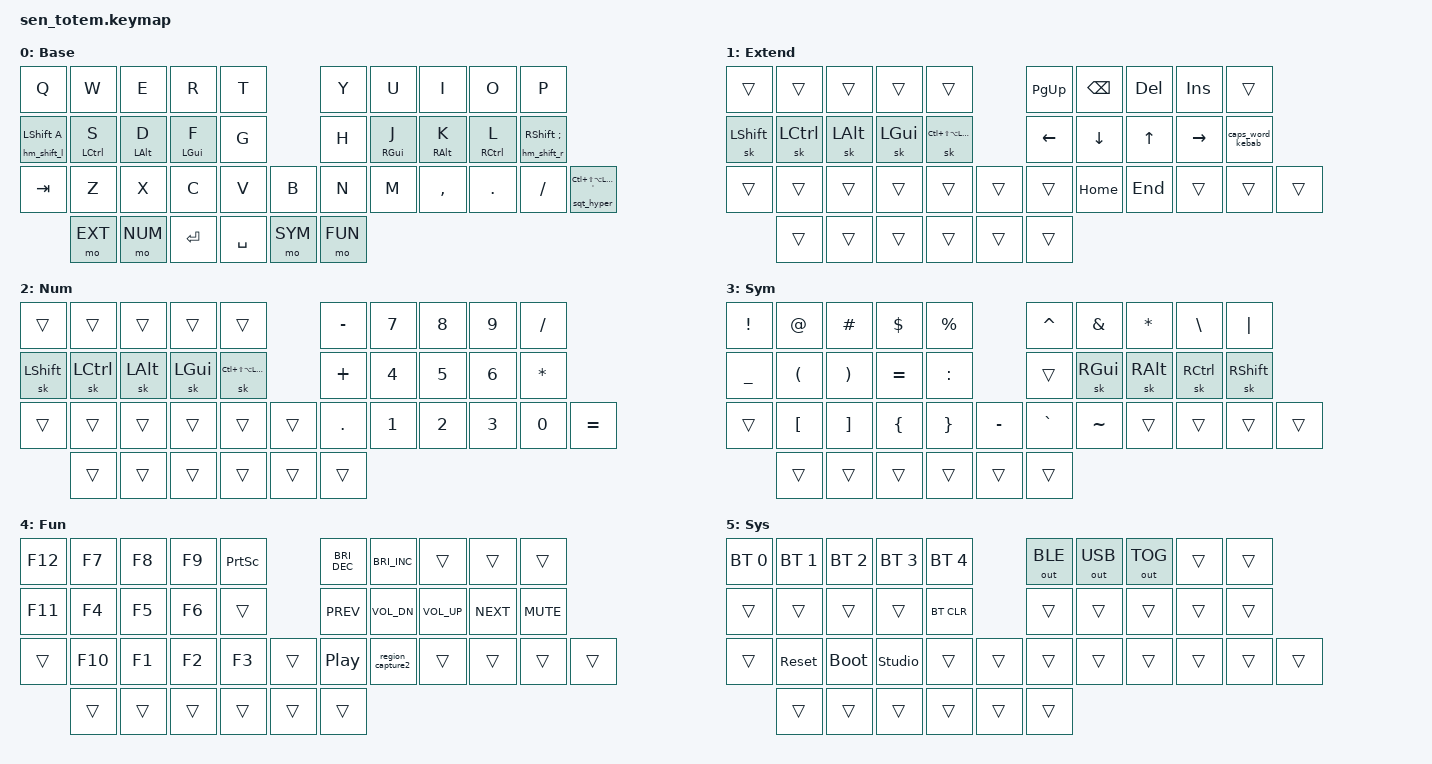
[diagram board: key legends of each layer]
/*
 * Variant B — "seniply-core" (sticky one-shot mods, pure thumb holds)
 *
 * Design lineage: Seniply (stevep99) + urob's nav layer. Zero tap/hold
 * decisions on thumbs (all six are pure holds or plain keys) and the only
 * dual-role keys anywhere are the homerow mods themselves.
 *
 * Mods:    one-shot (&sk) modifiers on each layer's free home row, at the
 *          same positions as the homerow mods. Tap Ctrl, tap Shift+Alt
 *          (sticky hyper at G), then the key — sequential but race-free.
 *          IntelliJ chords: sticky hyper tap + key, or stack one-shots.
 * ESC/BSPC: no dedicated keys — Q+W / J+K combos (ESC), N+M (BSPC),
 *          D+F (DEL), plus BSPC/DEL/INS on the EXT layer.
 * SYS:     hold EXT + SYM together.
 */

#include <behaviors.dtsi>
#include <dt-bindings/zmk/keys.h>
#include <dt-bindings/zmk/bt.h>
#include <dt-bindings/zmk/outputs.h>

#include "zmk-helpers/helper.h"
#include "zmk-helpers/key-labels/totem.h"

#define KEYS_L LT0 LT1 LT2 LT3 LT4 LM0 LM1 LM2 LM3 LM4 LB0 LB1 LB2 LB3 LB4 LB5
#define KEYS_R RT0 RT1 RT2 RT3 RT4 RM0 RM1 RM2 RM3 RM4 RB0 RB1 RB2 RB3 RB4 RB5
#define KEYS_T LH2 LH1 LH0 RH0 RH1 RH2

#include "../includes/behaviours_homerow_mods.dtsi"
#include "../includes/behaviours_variants.dtsi"

#define BASE 0
#define EXT  1
#define NUM  2
#define SYM  3
#define FUN  4
#define SYS  5

#include "../includes/combos_variants.dtsi"

/ {
    conditional_layers {
        compatible = "zmk,conditional-layers";
        tri_layer {
            if-layers = <EXT SYM>;
            then-layer = <SYS>;
        };
    };

    keymap {
        compatible = "zmk,keymap";

        //             ┌────┬────┬────┬────┬────┐        ┌────┬────┬────┬────┬────┐
        //             │ Q  │ W  │ E  │ R  │ T  │        │ Y  │ U  │ I  │ O  │ P  │
        //             ├────┼────┼────┼────┼────┤        ├────┼────┼────┼────┼────┤
        //             │ A* │ S* │ D* │ F* │ G  │        │ H  │ J* │ K* │ L* │ ;* │
        //        ┌────┼────┼────┼────┼────┼────┐        ├────┼────┼────┼────┼────┼────┐
        //        │TAB │ Z  │ X  │ C  │ V  │ B  │        │ N  │ M  │ ,  │ .  │ /  │'⌘  │
        //        └────┴────┴────┴────┼────┼────┼────┐┌───┼────┼────┼────┼────┼────┴────┘
        //                           │EXT │NUM │ RET ││SPC │SYM │FUN │
        //                           └────┴────┴─────┘└────┴────┴────┘

        base_layer {
            display-name = "Base";
            label = "BASE";

            bindings = <
                &kp Q                 &kp W                &kp E                &kp R               &kp T                        &kp Y       &kp U                &kp I               &kp O                 &kp P
                &hm_shift_l LSHFT A   &hm_l LCTRL S        &hm_l LALT D         &hm_l LGUI F        &kp G                        &kp H       &hm_r RGUI J          &hm_r RALT K        &hm_r RCTRL L         &hm_shift_r RSHFT SEMICOLON
                &kp TAB               &kp Z                &kp X                &kp C               &kp V        &kp B            &kp N       &kp M                &kp COMMA            &kp DOT               &kp SLASH                    &sqt_hyper LC(LS(LA(LGUI))) SQT
                                            &mo EXT   &mo NUM   &kp RET     &kp SPACE    &mo SYM   &mo FUN
            >;
        };

        // One-shot mods on the left home row (position-matched to HRM);
        // sticky hyper at G; nav + BSPC/DEL/INS on the right.
        //             ┌────┬────┬────┬────┬────┐        ┌─────┬─────┬─────┬─────┬─────┐
        //             │    │    │    │    │    │        │PGUP │BSPC │ DEL │ INS │     │
        //             ├────┼────┼────┼────┼────┤        ├─────┼─────┼─────┼─────┼─────┤
        //             │⇧→ │⌃→ │⌥→ │⌘→ │HYP→│        │ ←   │ ↓   │ ↑   │ →   │CAPS │
        //        ┌────┼────┼────┼────┼────┼────┐        ├─────┼─────┼─────┼─────┼─────┼─────┐
        //        │    │    │    │    │    │    │        │     │HOME │END  │     │     │     │
        //        └────┴────┴────┴────┼────┼────┼────┐┌───┼─────┼─────┼─────┼─────┴─────┴─────┘
        //                           │    │    │    ││    │     │     │
        //                           └────┴────┴─────┘└────┴─────┴─────┘
        // → = one-shot (sticky) mod: tap, release, then the key

        ext_layer {
            display-name = "Extend";
            label = "EXT";

            bindings = <
                &trans  &trans  &trans  &trans  &trans                    &kp PG_UP    &kp BSPC      &kp DEL     &kp INS     &trans
                &sk LSHFT  &sk LCTRL  &sk LALT  &sk LGUI  &sk LC(LS(LA(LGUI)))  &kp LEFT     &kp DOWN      &kp UP      &kp RIGHT   &caps_word_kebab
                &trans  &trans  &trans  &trans  &trans  &trans             &trans       &kp HOME      &kp END     &trans      &trans      &trans
                                            &trans  &trans  &trans      &trans    &trans      &trans
            >;
        };

        // Calculator-style numpad on the right (miryoku rule: left thumb
        // holds the layer, right hand works); one-shot mods on the left.
        //             ┌────┬────┬────┬────┬────┐        ┌────┬────┬────┬────┬────┐
        //             │    │    │    │    │    │        │ -  │ 7  │ 8  │ 9  │ /  │
        //             ├────┼────┼────┼────┼────┤        ├────┼────┼────┼────┼────┤
        //             │⇧→ │⌃→ │⌥→ │⌘→ │HYP→│        │ +  │ 4  │ 5  │ 6  │ *  │
        //        ┌────┼────┼────┼────┼────┼────┐        ├────┼────┼────┼────┼────┼────┐
        //        │    │    │    │    │    │    │        │ .  │ 1  │ 2  │ 3  │ 0  │ =  │
        //        └────┴────┴────┴────┼────┼────┼────┐┌───┼────┼────┼────┼────┼────┴────┘
        //                           │    │    │    ││    │    │    │
        //                           └────┴────┴─────┘└────┴────┴────┘
        num_layer {
            display-name = "Num";
            label = "NUM";

            bindings = <
                &trans  &trans  &trans  &trans  &trans                    &kp MINUS   &kp N7      &kp N8      &kp N9      &kp SLASH
                &sk LSHFT  &sk LCTRL  &sk LALT  &sk LGUI  &sk LC(LS(LA(LGUI)))  &kp PLUS    &kp N4      &kp N5      &kp N6      &kp ASTRK
                &trans  &trans  &trans  &trans  &trans  &trans             &kp DOT     &kp N1      &kp N2      &kp N3      &kp N0     &kp EQUAL
                                            &trans  &trans  &trans      &trans    &trans      &trans
            >;
        };

        // Symbols on the left (shifted-number-row mnemonics top, brackets
        // bottom, frequent _ ( ) = : on home); one-shot mods right home row.
        //             ┌────┬────┬────┬────┬────┐        ┌────┬────┬────┬────┬────┐
        //             │ !  │ @  │ #  │ $  │ %  │        │ ^  │ &  │ *  │ \  │ |  │
        //             ├────┼────┼────┼────┼────┤        ├────┼────┼────┼────┼────┤
        //             │ _  │ (  │ )  │ =  │ :  │        │    │⌘→ │⌥→ │⌃→ │⇧→ │
        //        ┌────┼────┼────┼────┼────┼────┐        ├────┼────┼────┼────┼────┼────┐
        //        │    │ [  │ ]  │ {  │ }  │ -  │        │ `  │ ~  │    │    │    │    │
        //        └────┴────┴────┴────┼────┼────┼────┐┌───┼────┼────┼────┼────┼────┴────┘
        //                           │    │    │    ││    │    │    │
        //                           └────┴────┴─────┘└────┴────┴────┘
        sym_layer {
            display-name = "Sym";
            label = "SYM";

            bindings = <
                &kp EXCL   &kp AT     &kp HASH   &kp DLLR   &kp PRCNT              &kp CARET   &kp AMPS    &kp ASTRK   &kp BSLH    &kp PIPE
                &kp UNDER  &kp LPAR   &kp RPAR   &kp EQUAL  &kp COLON              &trans      &sk RGUI    &sk RALT    &sk RCTRL   &sk RSHFT
                &trans     &kp LBKT   &kp RBKT   &kp LBRC   &kp RBRC   &kp MINUS    &kp GRAVE   &kp TILDE   &trans      &trans      &trans      &trans
                                            &trans  &trans  &trans      &trans    &trans      &trans
            >;
        };

        // F-keys left, media right — same layout as the flo variant's FUN.
        fun_layer {
            display-name = "Fun";
            label = "FUN";

            bindings = <
                &kp F12   &kp F7   &kp F8   &kp F9   &kp PSCRN              &kp C_BRI_DEC    &kp C_BRI_INC   &trans    &trans    &trans
                &kp F11   &kp F4   &kp F5   &kp F6   &trans                 &kp C_PREV       &kp C_VOL_DN   &kp C_VOL_UP  &kp C_NEXT   &kp C_MUTE
                &trans    &kp F10  &kp F1   &kp F2   &kp F3     &trans      &kp C_PP         &region_capture2  &trans   &trans    &trans    &trans
                                            &trans  &trans  &trans      &trans    &trans    &trans
            >;
        };

        // Hold EXT + SYM together: BT / outputs / reset / studio.
        sys_layer {
            display-name = "Sys";
            label = "SYS";

            bindings = <
                &bt BT_SEL 0    &bt BT_SEL 1    &bt BT_SEL 2    &bt BT_SEL 3    &bt BT_SEL 4          &out OUT_BLE     &out OUT_USB     &out OUT_TOG     &trans    &trans
                &trans          &trans          &trans          &trans          &bt BT_CLR           &trans           &trans           &trans           &trans    &trans
                &trans          &sys_reset      &bootloader     &studio_unlock  &trans          &trans &trans           &trans           &trans           &trans    &trans    &trans
                                                &trans          &trans          &trans                 &trans           &trans           &trans
            >;
        };
    };
};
